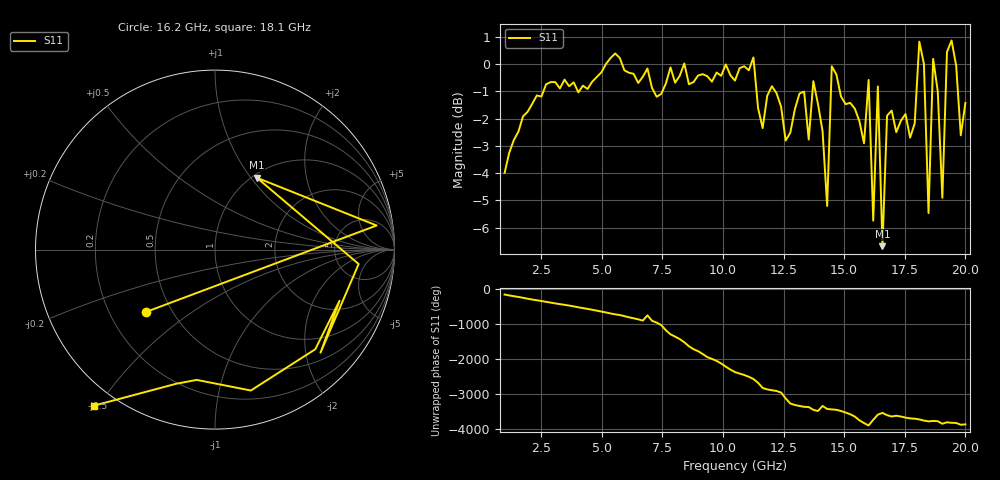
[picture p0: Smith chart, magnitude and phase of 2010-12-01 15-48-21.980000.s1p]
# GHz S RI R 50
!freq	ReS11	ImS11
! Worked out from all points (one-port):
!   101 points, 1 GHz to 20 GHz, reference 50 ohm
!   lowest |S11| = -6.7 dB at 16.58 GHz (marker M1), VSWR 2.73, Z = 52.5 + j53.5 ohm
!   |S11| at or under -10 dB: nowhere
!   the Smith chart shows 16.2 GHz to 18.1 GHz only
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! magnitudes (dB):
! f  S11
! 1 GHz  -4.0
! 3.47 GHz  -0.6
! 5.75 GHz  0.2
! 8.22 GHz  -0.4
! 10.5 GHz  -0.6
! 12.97 GHz  -1.6
! 13.35 GHz  -1.0
! 13.54 GHz  -2.8
! 13.73 GHz  -0.6
! 14.3 GHz  -5.2
! 14.49 GHz  -0.1
! 15.25 GHz  -1.4
! 15.82 GHz  -2.9
! 16.01 GHz  -0.6
! 16.2 GHz  -5.7
! 16.39 GHz  -0.8
! 16.58 GHz  -6.7
! 16.77 GHz  -1.9
! 17.72 GHz  -2.7
! 18.1 GHz  0.8
! 18.29 GHz  0.0
! 18.48 GHz  -5.5
! 18.67 GHz  0.2
! 19.05 GHz  -4.9
! 19.24 GHz  0.4
! 19.62 GHz  -0.1
! 19.81 GHz  -2.6
! 20 GHz  -1.4
